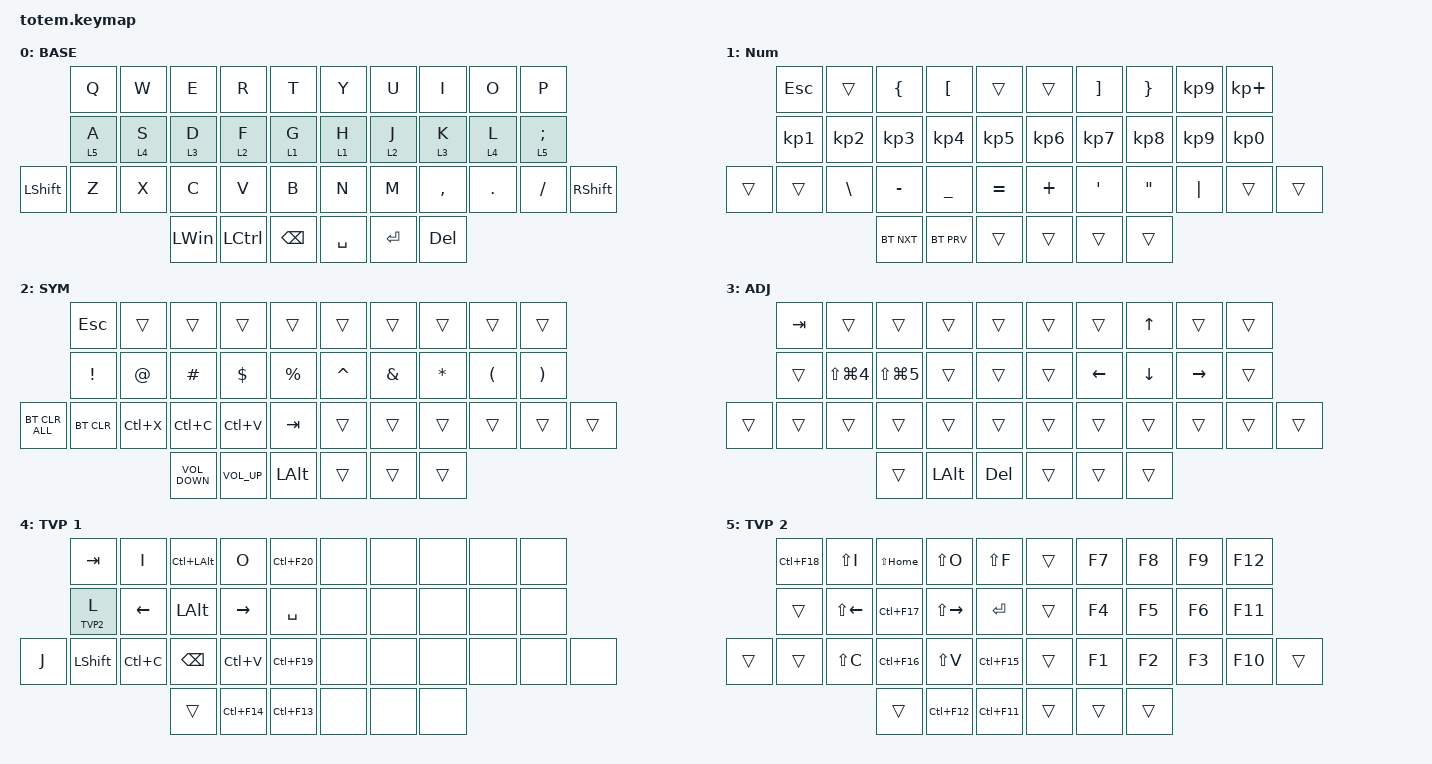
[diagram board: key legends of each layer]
//
//                                                        ▀▀▀▀▀     ▀▀▀▀▀          ▀▀█▀▀
//                                                        ▄▀▀▀▄  ▄  ▄▀▀▀▄  ▄  ▄▀▀▀▄  █  ▄▀▀▀▄
//                                                        █   █  █  █   █  █  █   █  █  █   █
//                                                         ▀▀▀   █   ▀▀▀   █   ▀▀▀   ▀   ▀▀▀
//                                                               █      ▄▄▄█▄▄▄    █   █  
//                                                               ▀      █  █  █     █▄█
//                                                             ▀▀▀▀▀    █  █  █      ▀
//                                                                      ▀  ▀  ▀
//
// ▄▄▄▄▄▄▄▄▄▄▄▄▄▄▄▄▄▄▄▄▄▄▄▄▄▄▄▄▄▄▄▄▄▄▄▄▄▄▄▄▄▄▄▄▄▄▄▄▄▄▄▄▄▄▄▄▄▄▄▄▄▄▄▄▄▄▄▄▄▄▄▄▄▄▄▄▄▄▄▄▄▄▄▄▄▄▄▄▄▄▄▄▄▄▄▄▄▄▄▄▄▄▄▄▄▄▄▄▄▄▄▄▄▄▄▄▄▄▄▄▄▄▄▄▄▄▄▄▄▄▄▄▄▄▄▄▄▄▄▄▄▄▄▄▄▄▄▄▄

#include <behaviors.dtsi>
#include <dt-bindings/zmk/bt.h>
#include <dt-bindings/zmk/keys.h>

#define BASE 0
#define NAV  1
#define SYM  2
#define ADJ  3
#define TVP1 4
#define TVP2 5

&mt {
    quick-tap-ms = <100>;
    global-quick-tap;
    flavor = "tap-preferred";
    tapping-term-ms = <170>;
};

/ {
    combos {
        compatible = "zmk,combos";

        combo_esc {
            timeout-ms = <50>;
            key-positions = <0 1>;
            bindings = <&kp ESC>;
        };

        combo_tvp {
            timeout-ms = <100>;
            key-positions = <11 12 13>;
            bindings = <&tog TVP1>;
        };
    };

    keymap {
        compatible = "zmk,keymap";

        // ▄▄▄▄▄▄▄▄▄▄▄▄▄▄▄▄▄▄▄▄▄▄▄▄▄▄▄▄▄▄▄▄▄▄▄▄▄▄▄▄▄▄▄▄▄▄▄▄▄▄▄▄▄▄▄▄▄▄▄▄▄▄▄▄▄▄▄▄▄▄▄▄▄▄▄▄▄▄▄▄▄▄▄▄▄▄▄▄▄▄▄▄▄▄▄▄▄▄▄▄▄▄▄▄▄▄▄▄▄▄▄▄▄▄▄▄▄▄▄▄▄▄▄▄▄▄▄▄▄▄▄▄▄▄▄▄▄▄▄▄▄▄▄▄▄▄▄▄▄

        base_layer {
            // ┏━━━━━━━━━━━━━━━━━━━━━━━━━━━━━━━━━━━━━━━┓

            label = "BASE";

            // ┗━━━━━━━━━━━━━━━━━━━━━━━━━━━━━━━━━━━━━━━┛
            //             ┏━━━━━━━━━━━┳━━━━━━━━━━━┳━━━━━━━━━━━┳━━━━━━━━━━━┳━━━━━━━━━━━┓   ┏━━━━━━━━━━━┳━━━━━━━━━━━┳━━━━━━━━━━━┳━━━━━━━━━━━┳━━━━━━━━━━━┓
            //             ┃     Q     ┃     W     ┃     E     ┃     R     ┃     T     ┃   ┃     Y     ┃     U     ┃     I     ┃     O     ┃     P     ┃
            //             ┣━━━━━━━━━━━╋━━━━━━━━━━━╋━━━━━━━━━━━╋━━━━━━━━━━━╋━━━━━━━━━━━┫   ┣━━━━━━━━━━━╋━━━━━━━━━━━╋━━━━━━━━━━━╋━━━━━━━━━━━╋━━━━━━━━━━━┫
            //             ┃     A     ┃     S     ┃     D     ┃     F     ┃     G     ┃   ┃     H     ┃     J     ┃     K     ┃     L     ┃ SEMICOLON ┃
            // ┏━━━━━━━━━━━╋━━━━━━━━━━━╋━━━━━━━━━━━╋━━━━━━━━━━━╋━━━━━━━━━━━╋━━━━━━━━━━━┫   ┣━━━━━━━━━━━╋━━━━━━━━━━━╋━━━━━━━━━━━╋━━━━━━━━━━━╋━━━━━━━━━━━╋━━━━━━━━━━━┓
            // ┃   SHIFT   ┃     Z     ┃     X     ┃     C     ┃     V     ┃     B     ┃   ┃     N     ┃     M     ┃     ,     ┃     .     ┃     /     ┃   SHIFT   ┃
            // ┗━━━━━━━━━━━┻━━━━━━━━━━━┻━━━━━━━━━━━╋━━━━━━━━━━━╋━━━━━━━━━━━╋━━━━━━━━━━━┫   ┣━━━━━━━━━━━╋━━━━━━━━━━━╋━━━━━━━━━━━╋━━━━━━━━━━━┻━━━━━━━━━━━┻━━━━━━━━━━━┛
            //                                     ┃    DEL    ┃    TAB    ┃    SPC    ┃   ┃   ENTER   ┃           ┃   BSPC    ┃
            //                                     ┗━━━━━━━━━━━┻━━━━━━━━━━━┻━━━━━━━━━━━┛   ┗━━━━━━━━━━━┻━━━━━━━━━━━┻━━━━━━━━━━━┛

            bindings = <
                &kp Q    &kp W    &kp E         &kp R      &kp T            &kp Y      &kp U      &kp I       &kp O    &kp P
                &lt 5 A  &lt 4 S  &lt 3 D       &lt 2 F    &lt 1 G          &lt 1 H    &lt 2 J    &lt 3 K     &lt 4 L  &lt 5 SEMICOLON
&kp LEFT_SHIFT  &kp Z    &kp X    &kp C         &kp V      &kp B            &kp N      &kp M      &kp COMMA   &kp DOT  &kp SLASH        &kp RIGHT_SHIFT
                                  &kp LEFT_WIN  &kp LCTRL  &kp BACKSPACE    &kp SPACE  &kp ENTER  &kp DELETE
            >;
        };

        // ▄▄▄▄▄▄▄▄▄▄▄▄▄▄▄▄▄▄▄▄▄▄▄▄▄▄▄▄▄▄▄▄▄▄▄▄▄▄▄▄▄▄▄▄▄▄▄▄▄▄▄▄▄▄▄▄▄▄▄▄▄▄▄▄▄▄▄▄▄▄▄▄▄▄▄▄▄▄▄▄▄▄▄▄▄▄▄▄▄▄▄▄▄▄▄▄▄▄▄▄▄▄▄▄▄▄▄▄▄▄▄▄▄▄▄▄▄▄▄▄▄▄▄▄▄▄▄▄▄▄▄▄▄▄▄▄▄▄▄▄▄▄▄▄▄▄▄▄▄

        Num {
            // ┏━━━━━━━━━━━━━━━━━━━━━━━━━━━━━━━━━━━━━━━┓

            label = "Num";

            // ┗━━━━━━━━━━━━━━━━━━━━━━━━━━━━━━━━━━━━━━━┛
            //             ┏━━━━━━━━━━━┳━━━━━━━━━━━┳━━━━━━━━━━━┳━━━━━━━━━━━┳━━━━━━━━━━━┓   ┏━━━━━━━━━━━┳━━━━━━━━━━━┳━━━━━━━━━━━┳━━━━━━━━━━━┳━━━━━━━━━━━┓
            //             ┃           ┃           ┃     UP    ┃           ┃     {     ┃   ┃     }     ┃     7     ┃     8     ┃     9     ┃     +     ┃
            //             ┣━━━━━━━━━━━╋━━━━━━━━━━━╋━━━━━━━━━━━╋━━━━━━━━━━━╋━━━━━━━━━━━┫   ┣━━━━━━━━━━━╋━━━━━━━━━━━╋━━━━━━━━━━━╋━━━━━━━━━━━╋━━━━━━━━━━━┫
            //             ┃   SHIFT   ┃   LEFT    ┃    DOWN   ┃   RIGHT   ┃     [     ┃   ┃     ]     ┃     4     ┃     5     ┃     6     ┃     -     ┃
            // ┏━━━━━━━━━━━╋━━━━━━━━━━━╋━━━━━━━━━━━╋━━━━━━━━━━━╋━━━━━━━━━━━╋━━━━━━━━━━━┫   ┣━━━━━━━━━━━╋━━━━━━━━━━━╋━━━━━━━━━━━╋━━━━━━━━━━━╋━━━━━━━━━━━╋━━━━━━━━━━━┓
            // ┃           ┃           ┃   P UP    ┃  C LOCK   ┃  P DOWN   ┃     (     ┃   ┃     )     ┃     1     ┃     2     ┃     3     ┃     *     ┃           ┃
            // ┗━━━━━━━━━━━┻━━━━━━━━━━━┻━━━━━━━━━━━╋━━━━━━━━━━━╋━━━━━━━━━━━╋━━━━━━━━━━━┫   ┣━━━━━━━━━━━╋━━━━━━━━━━━╋━━━━━━━━━━━╋━━━━━━━━━━━┻━━━━━━━━━━━┻━━━━━━━━━━━┛
            //                                     ┃           ┃    TAB    ┃    SPC    ┃   ┃    DEL    ┃     0     ┃           ┃
            //                                     ┗━━━━━━━━━━━┻━━━━━━━━━━━┻━━━━━━━━━━━┛   ┗━━━━━━━━━━━┻━━━━━━━━━━━┻━━━━━━━━━━━┛

            bindings = <
        &kp ESC          &trans           &kp LEFT_BRACE   &kp LEFT_BRACKET  &trans             &trans           &kp RIGHT_BRACKET  &kp RIGHT_BRACE    &kp KP_N9        &kp KP_PLUS
        &kp KP_NUMBER_1  &kp KP_NUMBER_2  &kp KP_NUMBER_3  &kp KP_NUMBER_4   &kp KP_NUMBER_5    &kp KP_NUMBER_6  &kp KP_NUMBER_7    &kp KP_NUMBER_8    &kp KP_NUMBER_9  &kp KP_NUMBER_0
&trans  &trans           &kp BACKSLASH    &kp MINUS        &kp UNDER         &kp EQUAL          &kp PLUS         &kp SQT            &kp DOUBLE_QUOTES  &kp PIPE         &trans           &trans
                                          &bt BT_NXT       &bt BT_PRV        &trans             &trans           &trans             &trans
            >;
        };

        // ▄▄▄▄▄▄▄▄▄▄▄▄▄▄▄▄▄▄▄▄▄▄▄▄▄▄▄▄▄▄▄▄▄▄▄▄▄▄▄▄▄▄▄▄▄▄▄▄▄▄▄▄▄▄▄▄▄▄▄▄▄▄▄▄▄▄▄▄▄▄▄▄▄▄▄▄▄▄▄▄▄▄▄▄▄▄▄▄▄▄▄▄▄▄▄▄▄▄▄▄▄▄▄▄▄▄▄▄▄▄▄▄▄▄▄▄▄▄▄▄▄▄▄▄▄▄▄▄▄▄▄▄▄▄▄▄▄▄▄▄▄▄▄▄▄▄▄▄▄

        SYM {
            // ┏━━━━━━━━━━━━━━━━━━━━━━━━━━━━━━━━━━━━━━━┓

            label = "SYM";

            // ┗━━━━━━━━━━━━━━━━━━━━━━━━━━━━━━━━━━━━━━━┛
            //             ┏━━━━━━━━━━━┳━━━━━━━━━━━┳━━━━━━━━━━━┳━━━━━━━━━━━┳━━━━━━━━━━━┓   ┏━━━━━━━━━━━┳━━━━━━━━━━━┳━━━━━━━━━━━┳━━━━━━━━━━━┳━━━━━━━━━━━┓
            //             ┃     !     ┃     @     ┃     #     ┃     $     ┃     %     ┃   ┃     ˆ     ┃     &     ┃     Ü     ┃     '     ┃     "     ┃
            //             ┣━━━━━━━━━━━╋━━━━━━━━━━━╋━━━━━━━━━━━╋━━━━━━━━━━━╋━━━━━━━━━━━┫   ┣━━━━━━━━━━━╋━━━━━━━━━━━╋━━━━━━━━━━━╋━━━━━━━━━━━╋━━━━━━━━━━━┫
            //             ┃     Ä     ┃           ┃    SZ     ┃           ┃           ┃   ┃   MUTE    ┃   YEN     ┃   EURO    ┃  POUND    ┃     Ö     ┃
            // ┏━━━━━━━━━━━╋━━━━━━━━━━━╋━━━━━━━━━━━╋━━━━━━━━━━━╋━━━━━━━━━━━╋━━━━━━━━━━━┫   ┣━━━━━━━━━━━╋━━━━━━━━━━━╋━━━━━━━━━━━╋━━━━━━━━━━━╋━━━━━━━━━━━╋━━━━━━━━━━━┓
            // ┃           ┃  EMAIL1   ┃  EMAIL2   ┃           ┃           ┃           ┃   ┃   VOL-    ┃   VOL+    ┃   LAST    ┃   NEXT    ┃     \     ┃           ┃
            // ┗━━━━━━━━━━━┻━━━━━━━━━━━┻━━━━━━━━━━━╋━━━━━━━━━━━╋━━━━━━━━━━━╋━━━━━━━━━━━┫   ┣━━━━━━━━━━━╋━━━━━━━━━━━╋━━━━━━━━━━━╋━━━━━━━━━━━┻━━━━━━━━━━━┻━━━━━━━━━━━┛
            //                                     ┃           ┃    GIF    ┃    ADJ    ┃   ┃           ┃           ┃           ┃
            //                                     ┗━━━━━━━━━━━┻━━━━━━━━━━━┻━━━━━━━━━━━┛   ┗━━━━━━━━━━━┻━━━━━━━━━━━┻━━━━━━━━━━━┛

            bindings = <
                &kp ESC     &trans       &trans             &trans           &trans          &trans     &trans         &trans        &trans                &trans
                &kp EXCL    &kp AT_SIGN  &kp HASH           &kp DOLLAR       &kp PERCENT     &kp CARET  &kp AMPERSAND  &kp ASTERISK  &kp LEFT_PARENTHESIS  &kp RIGHT_PARENTHESIS
&bt BT_CLR_ALL  &bt BT_CLR  &kp LC(X)    &kp LC(C)          &kp LC(V)        &kp TAB         &trans     &trans         &trans        &trans                &trans                 &trans
                                         &kp C_VOLUME_DOWN  &kp C_VOLUME_UP  &kp LEFT_ALT    &trans     &trans         &trans
            >;
        };

        // ▄▄▄▄▄▄▄▄▄▄▄▄▄▄▄▄▄▄▄▄▄▄▄▄▄▄▄▄▄▄▄▄▄▄▄▄▄▄▄▄▄▄▄▄▄▄▄▄▄▄▄▄▄▄▄▄▄▄▄▄▄▄▄▄▄▄▄▄▄▄▄▄▄▄▄▄▄▄▄▄▄▄▄▄▄▄▄▄▄▄▄▄▄▄▄▄▄▄▄▄▄▄▄▄▄▄▄▄▄▄▄▄▄▄▄▄▄▄▄▄▄▄▄▄▄▄▄▄▄▄▄▄▄▄▄▄▄▄▄▄▄▄▄▄▄▄▄▄▄

        adjust_layer {
            // ┏━━━━━━━━━━━━━━━━━━━━━━━━━━━━━━━━━━━━━━━┓

            label = "ADJ";

            // ┗━━━━━━━━━━━━━━━━━━━━━━━━━━━━━━━━━━━━━━━┛
            //             ┏━━━━━━━━━━━┳━━━━━━━━━━━┳━━━━━━━━━━━┳━━━━━━━━━━━┳━━━━━━━━━━━┓   ┏━━━━━━━━━━━┳━━━━━━━━━━━┳━━━━━━━━━━━┳━━━━━━━━━━━┳━━━━━━━━━━━┓
            //             ┃   RESET   ┃ BT CLEAR  ┃  OUT TOG  ┃           ┃           ┃   ┃           ┃    F7     ┃    F8     ┃    F9     ┃    F12    ┃
            //             ┣━━━━━━━━━━━╋━━━━━━━━━━━╋━━━━━━━━━━━╋━━━━━━━━━━━╋━━━━━━━━━━━┫   ┣━━━━━━━━━━━╋━━━━━━━━━━━╋━━━━━━━━━━━╋━━━━━━━━━━━╋━━━━━━━━━━━┫
            //             ┃ BOOTLOAD  ┃ BT NEXT   ┃           ┃           ┃           ┃   ┃           ┃    F4     ┃    F5     ┃    F6     ┃    F11    ┃
            // ┏━━━━━━━━━━━╋━━━━━━━━━━━╋━━━━━━━━━━━╋━━━━━━━━━━━╋━━━━━━━━━━━╋━━━━━━━━━━━┫   ┣━━━━━━━━━━━╋━━━━━━━━━━━╋━━━━━━━━━━━╋━━━━━━━━━━━╋━━━━━━━━━━━╋━━━━━━━━━━━┓
            // ┃           ┃           ┃ BT PREV   ┃           ┃           ┃           ┃   ┃           ┃    F1     ┃    F2     ┃    F3     ┃    F10    ┃           ┃
            // ┗━━━━━━━━━━━┻━━━━━━━━━━━┻━━━━━━━━━━━╋━━━━━━━━━━━╋━━━━━━━━━━━╋━━━━━━━━━━━┫   ┣━━━━━━━━━━━╋━━━━━━━━━━━╋━━━━━━━━━━━╋━━━━━━━━━━━┻━━━━━━━━━━━┻━━━━━━━━━━━┛
            //                                     ┃           ┃           ┃           ┃   ┃           ┃           ┃           ┃
            //                                     ┗━━━━━━━━━━━┻━━━━━━━━━━━┻━━━━━━━━━━━┛   ┗━━━━━━━━━━━┻━━━━━━━━━━━┻━━━━━━━━━━━┛

            bindings = <
        &kp TAB  &trans                &trans          &trans        &trans        &trans  &trans    &kp UP_ARROW  &trans     &trans
        &trans   &kp LS(LG(NUMBER_4))  &kp LS(LG(N5))  &trans        &trans        &trans  &kp LEFT  &kp DOWN      &kp RIGHT  &trans
&trans  &trans   &trans                &trans          &trans        &trans        &trans  &trans    &trans        &trans     &trans  &trans
                                       &trans          &kp LEFT_ALT  &kp DELETE    &trans  &trans    &trans
            >;
        };

        // ▄▄▄▄▄▄▄▄▄▄▄▄▄▄▄▄▄▄▄▄▄▄▄▄▄▄▄▄▄▄▄▄▄▄▄▄▄▄▄▄▄▄▄▄▄▄▄▄▄▄▄▄▄▄▄▄▄▄▄▄▄▄▄▄▄▄▄▄▄▄▄▄▄▄▄▄▄▄▄▄▄▄▄▄▄▄▄▄▄▄▄▄▄▄▄▄▄▄▄▄▄▄▄▄▄▄▄▄▄▄▄▄▄▄▄▄▄▄▄▄▄▄▄▄▄▄▄▄▄▄▄▄▄▄▄▄▄▄▄▄▄▄▄▄▄▄▄▄▄

        tvp1_layer {
            // ┏━━━━━━━━━━━━━━━━━━━━━━━━━━━━━━━━━━━━━━━┓

            label = "TVP 1";

            // ┗━━━━━━━━━━━━━━━━━━━━━━━━━━━━━━━━━━━━━━━┛
            //             ┏━━━━━━━━━━━┳━━━━━━━━━━━┳━━━━━━━━━━━┳━━━━━━━━━━━┳━━━━━━━━━━━┓   ┏━━━━━━━━━━━┳━━━━━━━━━━━┳━━━━━━━━━━━┳━━━━━━━━━━━┳━━━━━━━━━━━┓
            //             ┃ NEXT FILE ┃ MARK IN   ┃ ROTATE    ┃ MARK OUT  ┃ SHOW SNAP ┃   ┃           ┃           ┃           ┃           ┃           ┃
            //             ┣━━━━━━━━━━━╋━━━━━━━━━━━╋━━━━━━━━━━━╋━━━━━━━━━━━╋━━━━━━━━━━━┫   ┣━━━━━━━━━━━╋━━━━━━━━━━━╋━━━━━━━━━━━╋━━━━━━━━━━━╋━━━━━━━━━━━┫
            //             ┃ TVP II    ┃ LEFT      ┃ PAN       ┃ RIGHT     ┃ PLAY/FLIP ┃   ┃           ┃           ┃           ┃           ┃           ┃
            // ┏━━━━━━━━━━━╋━━━━━━━━━━━╋━━━━━━━━━━━╋━━━━━━━━━━━╋━━━━━━━━━━━╋━━━━━━━━━━━┫   ┣━━━━━━━━━━━╋━━━━━━━━━━━╋━━━━━━━━━━━╋━━━━━━━━━━━╋━━━━━━━━━━━╋━━━━━━━━━━━┓
            // ┃ FULLSCR   ┃ SHIFT     ┃ COPY      ┃ DELETE    ┃ PASTE     ┃ IMG MARK  ┃   ┃           ┃           ┃           ┃           ┃           ┃           ┃
            // ┗━━━━━━━━━━━┻━━━━━━━━━━━┻━━━━━━━━━━━╋━━━━━━━━━━━╋━━━━━━━━━━━╋━━━━━━━━━━━┫   ┣━━━━━━━━━━━╋━━━━━━━━━━━╋━━━━━━━━━━━╋━━━━━━━━━━━┻━━━━━━━━━━━┻━━━━━━━━━━━┛
            //                                     ┃           ┃ UNDO/SAVE ┃  SEL/MOV  ┃   ┃           ┃           ┃           ┃
            //                                     ┗━━━━━━━━━━━┻━━━━━━━━━━━┻━━━━━━━━━━━┛   ┗━━━━━━━━━━━┻━━━━━━━━━━━┻━━━━━━━━━━━┛

            bindings = <
       &kp TAB     &kp I      &kp LC(LALT)  &kp O        &kp LC(F20)    &none  &none  &none  &none  &none
       &lt TVP2 L  &kp LEFT   &kp LALT      &kp RIGHT    &kp SPACE      &none  &none  &none  &none  &none
&kp J  &kp LSHFT   &kp LC(C)  &kp BSPC      &kp LC(V)    &kp LC(F19)    &none  &none  &none  &none  &none  &none
                              &trans        &kp LC(F14)  &kp LC(F13)    &none  &none  &none
            >;
        };

        // ▄▄▄▄▄▄▄▄▄▄▄▄▄▄▄▄▄▄▄▄▄▄▄▄▄▄▄▄▄▄▄▄▄▄▄▄▄▄▄▄▄▄▄▄▄▄▄▄▄▄▄▄▄▄▄▄▄▄▄▄▄▄▄▄▄▄▄▄▄▄▄▄▄▄▄▄▄▄▄▄▄▄▄▄▄▄▄▄▄▄▄▄▄▄▄▄▄▄▄▄▄▄▄▄▄▄▄▄▄▄▄▄▄▄▄▄▄▄▄▄▄▄▄▄▄▄▄▄▄▄▄▄▄▄▄▄▄▄▄▄▄▄▄▄▄▄▄▄▄

        tvp2_layer {
            // ┏━━━━━━━━━━━━━━━━━━━━━━━━━━━━━━━━━━━━━━━┓

            label = "TVP 2";

            // ┗━━━━━━━━━━━━━━━━━━━━━━━━━━━━━━━━━━━━━━━┛
            //             ┏━━━━━━━━━━━┳━━━━━━━━━━━┳━━━━━━━━━━━┳━━━━━━━━━━━┳━━━━━━━━━━━┓   ┏━━━━━━━━━━━┳━━━━━━━━━━━┳━━━━━━━━━━━┳━━━━━━━━━━━┳━━━━━━━━━━━┓
            //             ┃ SOLO      ┃ TOGGLE IN ┃ RESET ROT ┃ TOGGLE OUT┃ TAKE SNAP ┃   ┃           ┃           ┃           ┃           ┃           ┃
            //             ┣━━━━━━━━━━━╋━━━━━━━━━━━╋━━━━━━━━━━━╋━━━━━━━━━━━╋━━━━━━━━━━━┫   ┣━━━━━━━━━━━╋━━━━━━━━━━━╋━━━━━━━━━━━╋━━━━━━━━━━━╋━━━━━━━━━━━┫
            //             ┃ ---       ┃ LAST KEY  ┃ NEW KEY   ┃ NEXT KEY  ┃ ENTER     ┃   ┃           ┃           ┃           ┃           ┃           ┃
            // ┏━━━━━━━━━━━╋━━━━━━━━━━━╋━━━━━━━━━━━╋━━━━━━━━━━━╋━━━━━━━━━━━╋━━━━━━━━━━━┫   ┣━━━━━━━━━━━╋━━━━━━━━━━━╋━━━━━━━━━━━╋━━━━━━━━━━━╋━━━━━━━━━━━╋━━━━━━━━━━━┓
            // ┃           ┃ FULLSCR   ┃ CPY2BRUSH ┃ DEL HEAD  ┃ PSTinPLACE┃ BOOK MARK ┃   ┃           ┃           ┃           ┃           ┃           ┃           ┃
            // ┗━━━━━━━━━━━┻━━━━━━━━━━━┻━━━━━━━━━━━╋━━━━━━━━━━━╋━━━━━━━━━━━╋━━━━━━━━━━━┫   ┣━━━━━━━━━━━╋━━━━━━━━━━━╋━━━━━━━━━━━╋━━━━━━━━━━━┻━━━━━━━━━━━┻━━━━━━━━━━━┛
            //                                     ┃           ┃ REDO/SAV1 ┃TRANS/WARP ┃   ┃           ┃           ┃           ┃
            //                                     ┗━━━━━━━━━━━┻━━━━━━━━━━━┻━━━━━━━━━━━┛   ┗━━━━━━━━━━━┻━━━━━━━━━━━┻━━━━━━━━━━━┛

            bindings = <
        &kp LC(F18)  &kp LS(I)     &kp LS(HOME)  &kp LS(O)      &kp LS(F)      &trans  &kp F7  &kp F8  &kp F9  &kp F12
        &trans       &kp LS(LEFT)  &kp LC(F17)   &kp LS(RIGHT)  &kp RET        &trans  &kp F4  &kp F5  &kp F6  &kp F11
&trans  &trans       &kp LS(C)     &kp LC(F16)   &kp LS(V)      &kp LC(F15)    &trans  &kp F1  &kp F2  &kp F3  &kp F10  &trans
                                   &trans        &kp LC(F12)    &kp LC(F11)    &trans  &trans  &trans
            >;
        };
    };
};
